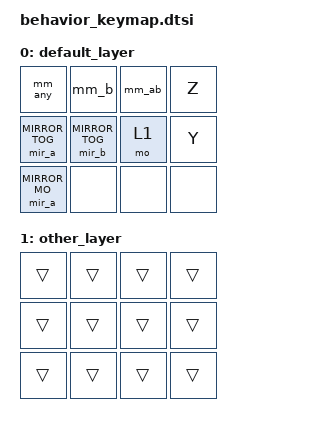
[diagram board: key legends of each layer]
#include <dt-bindings/zmk/keys.h>
#include <dt-bindings/zmk/mirror.h>
#include <behaviors.dtsi>
#include <dt-bindings/zmk/kscan_mock.h>

/*
 * Fork: &mirror-morph (PATCH_MIRROR_MODE.md §5). Two instances on layer 0 with an identity
 * map: nothing moves, the instances only pick morph bindings ("virtual layers").
 *
 *  pos  0 mm_any (A / B)   1 mm_b (C / D for b)   2 mm_ab (E / F for a / G for b)   3 Z
 *       4 &mir_a TOG       5 &mir_b TOG           6 &mo 1                           7 Y
 *       8 &mir_a MO        9..11 none
 *
 * Combo {3,7} -> mm_ab. Layer 1 is all &trans and in no group.
 */
&kscan {
    rows = <3>;
    columns = <4>;
};

/ {
    behaviors {
        mir_a: mirror_a {
            compatible = "zmk,behavior-mirror";
            #binding-cells = <1>;
            mirror-positions = <0 1 2 3 4 5 6 7 8 9 10 11>;
            base {
                layers = <0>;
            };
        };
        mir_b: mirror_b {
            compatible = "zmk,behavior-mirror";
            #binding-cells = <1>;
            mirror-positions = <0 1 2 3 4 5 6 7 8 9 10 11>;
            base {
                layers = <0>;
            };
        };
        mm_any: mm_any {
            compatible = "zmk,behavior-mirror-morph";
            #binding-cells = <0>;
            bindings = <&kp A>, <&kp B>;
        };
        mm_b: mm_b {
            compatible = "zmk,behavior-mirror-morph";
            #binding-cells = <0>;
            instances = <&mir_b>;
            bindings = <&kp C>, <&kp D>;
        };
        mm_ab: mm_ab {
            compatible = "zmk,behavior-mirror-morph";
            #binding-cells = <0>;
            instances = <&mir_a &mir_b>;
            bindings = <&kp E>, <&kp F>, <&kp G>;
        };
    };

    combos {
        compatible = "zmk,combos";
        combo_zy {
            timeout-ms = <50>;
            key-positions = <3 7>;
            bindings = <&mm_ab>;
        };
    };

    keymap {
        compatible = "zmk,keymap";

        default_layer {
            bindings = <
                &mm_any           &mm_b             &mm_ab  &kp Z
                &mir_a MIRROR_TOG &mir_b MIRROR_TOG &mo 1   &kp Y
                &mir_a MIRROR_MO  &none             &none   &none>;
        };
        other_layer {
            bindings = <
                &trans &trans &trans &trans
                &trans &trans &trans &trans
                &trans &trans &trans &trans>;
        };
    };
};
